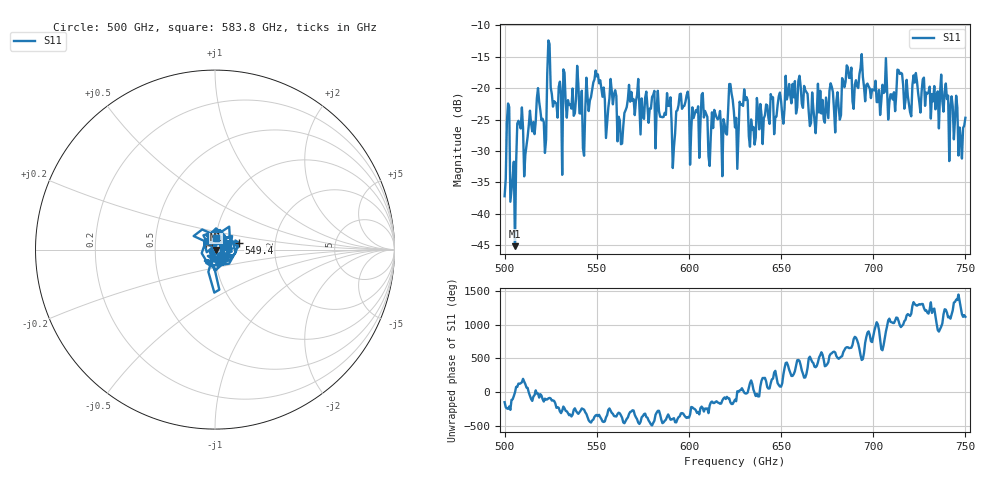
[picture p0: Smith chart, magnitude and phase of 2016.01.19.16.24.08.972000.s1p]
!Created with skrf (http://scikit-rf.org).
# GHz S RI R 50.0
!freq ReS11 ImS11
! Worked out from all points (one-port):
!   401 points, 500 GHz to 750 GHz, reference 50 ohm
!   lowest |S11| = -45.2 dB at 505.6 GHz (marker M1), VSWR 1.01, Z = 50.6 - j0.0315 ohm
!   |S11| at or under -10 dB: start of sweep to end of sweep
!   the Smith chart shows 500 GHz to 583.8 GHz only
!   S11 on the Smith chart (normalised r, x): 500 GHz: 0.98, -0.01; 549.4 GHz: 1.30, +0.10; 583.8 GHz: 1.00, +0.13
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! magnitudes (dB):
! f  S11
! 500 GHz  -37.2
! 501.2 GHz  -25.3
! 504.4 GHz  -34.3
! 505.6 GHz  -45.2
! 508.1 GHz  -25.7
! 511.9 GHz  -29.2
! 518.8 GHz  -22.2
! 521.2 GHz  -25.4
! 524.4 GHz  -13.0
! 531.2 GHz  -33.8
! 540.6 GHz  -24.0
! 542.5 GHz  -29.6
! 549.4 GHz  -17.2
! 555.6 GHz  -25.4
! 558.8 GHz  -22.6
! 562.5 GHz  -25.1
! 568.1 GHz  -22.2
! 583.8 GHz  -23.7
! 591.9 GHz  -29.4
! 593.8 GHz  -23.5
! 619.4 GHz  -25.7
! 623.1 GHz  -20.8
! 625 GHz  -26.3
! 656.2 GHz  -19.3
! 680.6 GHz  -20.7
! 687.5 GHz  -18.4
! 718.8 GHz  -21.2
! 750 GHz  -24.7
